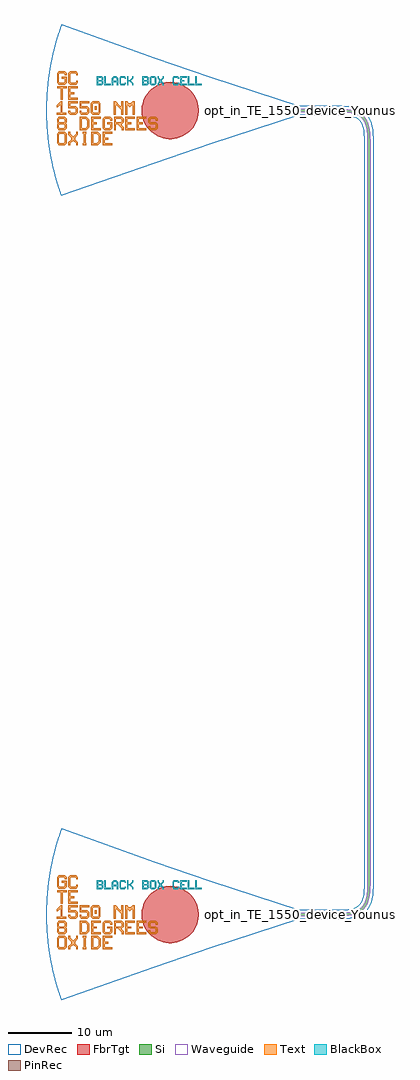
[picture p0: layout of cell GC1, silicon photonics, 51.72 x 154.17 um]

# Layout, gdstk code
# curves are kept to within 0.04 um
import gdstk
lib = gdstk.Library(unit=1e-6, precision=1e-09)
def R(c, l, rs):  # rectangles x0, y0, x1, y1
    for r in rs: c.add(gdstk.rectangle(r[:2], r[2:], *l))
def P(c, l, *ps):  # polygons
    for p in ps: c.add(gdstk.Polygon(p, *l))
Si = (1, 0)
PinRec = (1, 10)
Waveguide = (1, 99)
Text = (10, 0)
DevRec = (68, 0)
FbrTgt = (81, 0)
BlackBox = (998, 0)

text = lib.new_cell('TEXT')
P(text, BlackBox, [(0,0),(0,1.4),(0.8,1.4),(1,1.2),(0.2,1.2),(0.2,0.8),(0.7,0.8),(0.8,0.9),(0.8,1.1),(0.7,1.2),(1,1.2),(1,0.8),(0.9,0.7),(1,0.6),(0.2,0.6),(0.2,0.2),(0.7,0.2),(0.8,0.3),(0.8,0.5),(0.7,0.6),(1,0.6),(1,0.2),(0.8,0)],
  [(1.2,0),(1.2,1.4),(1.4,1.4),(1.4,0.2),(2.2,0.2),(2.2,0)],
  [(2.4,0),(2.4,1.1),(2.7,1.4),(3.1,1.4),(3.3,1.2),(2.8,1.2),(2.6,1),(2.6,0.7),(3.2,0.7),(3.2,1),(3,1.2),(3.3,1.2),(3.4,1.1),(3.4,0),(3.2,0),(3.2,0.5),(2.6,0.5),(2.6,0)],
  [(3.8,0),(3.6,0.2),(3.6,1.2),(3.8,1.4),(4.4,1.4),(4.6,1.2),(4.6,1),(4.4,1),(4.4,1.1),(4.3,1.2),(3.9,1.2),(3.8,1.1),(3.8,0.3),(3.9,0.2),(4.3,0.2),(4.4,0.3),(4.4,0.4),(4.6,0.4),(4.6,0.2),(4.4,0)],
  [(4.8,0),(4.8,1.4),(5,1.4),(5,0.8),(5.2,0.8),(5.6,1.2),(5.6,1.4),(5.8,1.4),(5.8,1.1),(5.4,0.7),(5.8,0.3),(5.8,0),(5.6,0),(5.6,0.2),(5.2,0.6),(5,0.6),(5,0)],
  [(7.2,0),(7.2,1.4),(8,1.4),(8.2,1.2),(7.4,1.2),(7.4,0.8),(7.9,0.8),(8,0.9),(8,1.1),(7.9,1.2),(8.2,1.2),(8.2,0.8),(8.1,0.7),(8.2,0.6),(7.4,0.6),(7.4,0.2),(7.9,0.2),(8,0.3),(8,0.5),(7.9,0.6),(8.2,0.6),(8.2,0.2),(8,0)],
  [(8.6,0),(8.4,0.2),(8.4,1.2),(8.6,1.4),(9.2,1.4),(9.4,1.2),(9.4,0.7),(9.2,0.7),(9.2,1.1),(9.1,1.2),(8.7,1.2),(8.6,1.1),(8.6,0.3),(8.7,0.2),(9.1,0.2),(9.2,0.3),(9.2,0.7),(9.4,0.7),(9.4,0.2),(9.2,0)],
  [(9.6,0),(9.6,0.3),(9.9,0.6),(9.9,0.8),(9.6,1.1),(9.6,1.4),(9.8,1.4),(9.8,1.2),(10.1,0.9),(10.4,1.2),(10.4,1.4),(10.6,1.4),(10.6,1.1),(10.3,0.8),(10.3,0.6),(10.6,0.3),(10.6,0),(10.4,0),(10.4,0.2),(10.1,0.5),(9.8,0.2),(9.8,0)],
  [(12.2,0),(12,0.2),(12,1.2),(12.2,1.4),(12.8,1.4),(13,1.2),(13,1),(12.8,1),(12.8,1.1),(12.7,1.2),(12.3,1.2),(12.2,1.1),(12.2,0.3),(12.3,0.2),(12.7,0.2),(12.8,0.3),(12.8,0.4),(13,0.4),(13,0.2),(12.8,0)],
  [(13.2,0),(13.2,1.4),(14.2,1.4),(14.2,1.2),(13.4,1.2),(13.4,0.8),(13.8,0.8),(13.8,0.6),(13.4,0.6),(13.4,0.2),(14.2,0.2),(14.2,0)],
  [(14.4,0),(14.4,1.4),(14.6,1.4),(14.6,0.2),(15.4,0.2),(15.4,0)],
  [(15.6,0),(15.6,1.4),(15.8,1.4),(15.8,0.2),(16.6,0.2),(16.6,0)])

gc_te_1550_8degoxide_bb = lib.new_cell('GC_TE_1550_8degOxide_BB')
R(gc_te_1550_8degoxide_bb, Si, [(-0.4,-0.25,0,0.25)])
R(gc_te_1550_8degoxide_bb, Text, [(-32.313,0.092,-32.013,0.692)])
P(gc_te_1550_8degoxide_bb, Text, [(-37.67,1.71),(-37.67,3.51),(-38.27,3.51),(-38.27,3.81),(-36.77,3.81),(-36.77,3.51),(-37.37,3.51),(-37.37,1.71)],
  [(-37.97,-5.49),(-38.27,-5.19),(-38.27,-3.69),(-37.97,-3.39),(-37.07,-3.39),(-36.77,-3.69),(-36.77,-4.44),(-37.07,-4.44),(-37.07,-3.84),(-37.22,-3.69),(-37.82,-3.69),(-37.97,-3.84),(-37.97,-5.04),(-37.82,-5.19),(-37.22,-5.19),(-37.07,-5.04),(-37.07,-4.44),(-36.77,-4.44),(-36.77,-5.19),(-37.07,-5.49)],
  [(-31.07,-5.49),(-31.07,-3.39),(-29.57,-3.39),(-29.57,-3.69),(-30.77,-3.69),(-30.77,-4.29),(-30.17,-4.29),(-30.17,-4.59),(-30.77,-4.59),(-30.77,-5.19),(-29.57,-5.19),(-29.57,-5.49)],
  [(-32.87,-3.09),(-32.87,-0.99),(-31.37,-0.99),(-31.37,-1.29),(-32.57,-1.29),(-32.57,-1.89),(-31.97,-1.89),(-31.97,-2.19),(-32.57,-2.19),(-32.57,-2.79),(-31.37,-2.79),(-31.37,-3.09)],
  [(-27.47,-3.09),(-27.47,-0.99),(-25.97,-0.99),(-25.97,-1.29),(-27.17,-1.29),(-27.17,-1.89),(-26.57,-1.89),(-26.57,-2.19),(-27.17,-2.19),(-27.17,-2.79),(-25.97,-2.79),(-25.97,-3.09)],
  [(-25.67,-3.09),(-25.67,-0.99),(-24.17,-0.99),(-24.17,-1.29),(-25.37,-1.29),(-25.37,-1.89),(-24.77,-1.89),(-24.77,-2.19),(-25.37,-2.19),(-25.37,-2.79),(-24.17,-2.79),(-24.17,-3.09)],
  [(-36.47,1.71),(-36.47,3.81),(-34.97,3.81),(-34.97,3.51),(-36.17,3.51),(-36.17,2.91),(-35.57,2.91),(-35.57,2.61),(-36.17,2.61),(-36.17,2.01),(-34.97,2.01),(-34.97,1.71)],
  [(-29.313,-0.658),(-29.313,1.442),(-29.013,1.442),(-28.263,0.692),(-28.113,0.692),(-28.113,1.442),(-27.813,1.442),(-27.813,-0.658),(-28.113,-0.658),(-28.113,0.092),(-28.863,0.842),(-29.013,0.842),(-29.013,-0.658)],
  [(-34.22,-5.49),(-34.22,-5.19),(-34.07,-5.19),(-34.07,-3.69),(-34.22,-3.69),(-34.22,-3.39),(-33.62,-3.39),(-33.62,-3.69),(-33.77,-3.69),(-33.77,-5.19),(-33.62,-5.19),(-33.62,-5.49)],
  [(-36.17,4.11),(-36.47,4.41),(-36.47,5.91),(-36.17,6.21),(-35.27,6.21),(-34.97,5.91),(-34.97,5.61),(-35.27,5.61),(-35.27,5.76),(-35.42,5.91),(-36.02,5.91),(-36.17,5.76),(-36.17,4.56),(-36.02,4.41),(-35.42,4.41),(-35.27,4.56),(-35.27,4.71),(-34.97,4.71),(-34.97,4.41),(-35.27,4.11)],
  [(-27.513,-0.658),(-27.513,1.442),(-27.213,1.442),(-26.913,1.142),(-26.613,1.142),(-26.313,1.442),(-26.013,1.442),(-26.013,-0.658),(-26.313,-0.658),(-26.313,0.842),(-26.463,0.842),(-26.763,0.542),(-27.063,0.842),(-27.213,0.842),(-27.213,-0.658)],
  [(-32.613,-0.658),(-32.913,-0.358),(-32.913,1.142),(-32.613,1.442),(-31.713,1.442),(-31.413,1.142),(-32.463,1.142),(-32.613,0.992),(-32.613,-0.208),(-32.463,-0.358),(-31.863,-0.358),(-31.713,-0.208),(-31.713,0.992),(-31.863,1.142),(-31.413,1.142),(-31.413,-0.358),(-31.713,-0.658)],
  [(-32.87,-5.49),(-32.87,-3.39),(-31.82,-3.39),(-31.52,-3.69),(-32.57,-3.69),(-32.57,-5.19),(-31.97,-5.19),(-31.67,-4.89),(-31.67,-3.99),(-31.97,-3.69),(-31.52,-3.69),(-31.37,-3.84),(-31.37,-5.04),(-31.82,-5.49)],
  [(-34.67,-3.09),(-34.67,-0.99),(-33.62,-0.99),(-33.32,-1.29),(-34.37,-1.29),(-34.37,-2.79),(-33.77,-2.79),(-33.47,-2.49),(-33.47,-1.59),(-33.77,-1.29),(-33.32,-1.29),(-33.17,-1.44),(-33.17,-2.64),(-33.62,-3.09)],
  [(-23.57,-3.09),(-23.87,-2.79),(-23.87,-2.49),(-23.57,-2.49),(-23.57,-2.64),(-23.42,-2.79),(-22.82,-2.79),(-22.67,-2.64),(-22.67,-2.34),(-22.82,-2.19),(-23.57,-2.19),(-23.87,-1.89),(-23.87,-1.29),(-23.57,-0.99),(-22.67,-0.99),(-22.37,-1.29),(-22.37,-1.59),(-22.67,-1.59),(-22.67,-1.44),(-22.82,-1.29),(-23.42,-1.29),(-23.57,-1.44),(-23.57,-1.74),(-23.42,-1.89),(-22.67,-1.89),(-22.37,-2.19),(-22.37,-2.79),(-22.67,-3.09)],
  [(-36.213,-0.658),(-36.513,-0.358),(-36.513,-0.058),(-36.213,-0.058),(-36.213,-0.208),(-36.063,-0.358),(-35.463,-0.358),(-35.313,-0.208),(-35.313,0.242),(-35.463,0.392),(-36.513,0.392),(-36.513,1.442),(-35.013,1.442),(-35.013,1.142),(-36.213,1.142),(-36.213,0.692),(-35.313,0.692),(-35.013,0.392),(-35.013,-0.358),(-35.313,-0.658)],
  [(-34.413,-0.658),(-34.713,-0.358),(-34.713,-0.058),(-34.413,-0.058),(-34.413,-0.208),(-34.263,-0.358),(-33.663,-0.358),(-33.513,-0.208),(-33.513,0.242),(-33.663,0.392),(-34.713,0.392),(-34.713,1.442),(-33.213,1.442),(-33.213,1.142),(-34.413,1.142),(-34.413,0.692),(-33.513,0.692),(-33.213,0.392),(-33.213,-0.358),(-33.513,-0.658)],
  [(-37.97,-3.09),(-38.27,-2.79),(-38.27,-2.19),(-38.12,-2.04),(-38.27,-1.89),(-38.27,-1.29),(-37.97,-0.99),(-37.07,-0.99),(-36.77,-1.29),(-37.82,-1.29),(-37.97,-1.44),(-37.97,-1.74),(-37.82,-1.89),(-37.22,-1.89),(-37.07,-1.74),(-37.07,-1.44),(-37.22,-1.29),(-36.77,-1.29),(-36.77,-1.89),(-36.92,-2.04),(-36.77,-2.19),(-37.82,-2.19),(-37.97,-2.34),(-37.97,-2.64),(-37.82,-2.79),(-37.22,-2.79),(-37.07,-2.64),(-37.07,-2.34),(-37.22,-2.19),(-36.77,-2.19),(-36.77,-2.79),(-37.07,-3.09)],
  [(-38.313,-0.658),(-38.313,-0.358),(-37.713,-0.358),(-37.713,0.842),(-37.863,0.842),(-38.163,0.542),(-38.313,0.542),(-38.313,0.842),(-37.713,1.442),(-37.413,1.442),(-37.413,-0.358),(-36.813,-0.358),(-36.813,-0.658)],
  [(-36.47,-5.49),(-36.47,-5.04),(-36.02,-4.59),(-36.02,-4.29),(-36.47,-3.84),(-36.47,-3.39),(-36.17,-3.39),(-36.17,-3.69),(-35.72,-4.14),(-35.27,-3.69),(-35.27,-3.39),(-34.97,-3.39),(-34.97,-3.84),(-35.42,-4.29),(-35.42,-4.59),(-34.97,-5.04),(-34.97,-5.49),(-35.27,-5.49),(-35.27,-5.19),(-35.72,-4.74),(-36.17,-5.19),(-36.17,-5.49)],
  [(-30.77,-3.09),(-31.07,-2.79),(-31.07,-1.29),(-30.77,-0.99),(-29.87,-0.99),(-29.57,-1.29),(-29.57,-1.59),(-29.87,-1.59),(-29.87,-1.44),(-30.02,-1.29),(-30.62,-1.29),(-30.77,-1.44),(-30.77,-2.64),(-30.62,-2.79),(-30.02,-2.79),(-29.87,-2.64),(-29.87,-2.19),(-30.32,-2.19),(-30.32,-1.89),(-29.57,-1.89),(-29.57,-2.79),(-29.87,-3.09)],
  [(-37.97,4.11),(-38.27,4.41),(-38.27,5.91),(-37.97,6.21),(-37.07,6.21),(-36.77,5.91),(-36.77,5.61),(-37.07,5.61),(-37.07,5.76),(-37.22,5.91),(-37.82,5.91),(-37.97,5.76),(-37.97,4.56),(-37.82,4.41),(-37.22,4.41),(-37.07,4.56),(-37.07,5.01),(-37.52,5.01),(-37.52,5.31),(-36.77,5.31),(-36.77,4.41),(-37.07,4.11)],
  [(-29.27,-3.09),(-29.27,-0.99),(-28.07,-0.99),(-27.77,-1.29),(-28.97,-1.29),(-28.97,-1.89),(-28.22,-1.89),(-28.07,-1.74),(-28.07,-1.44),(-28.22,-1.29),(-27.77,-1.29),(-27.77,-1.89),(-28.07,-2.19),(-28.07,-2.34),(-27.77,-2.64),(-27.77,-3.09),(-28.07,-3.09),(-28.07,-2.79),(-28.67,-2.19),(-28.97,-2.19),(-28.97,-3.09)])
P(gc_te_1550_8degoxide_bb, DevRec, [(-37.607,-13.5),(-38.627,-10.245),(-39.378,-6.832),(-39.647,-5.058),(-39.835,-3.274),(-39.969,0.224),(-39.812,3.541),(-39.331,7.097),(-38.557,10.505),(-37.546,13.669),(-22.8,8.353),(-14.109,5.36),(0,0.75),(0,-0.75),(-14.109,-5.36)])
P(gc_te_1550_8degoxide_bb, FbrTgt, [(-20.621,-4.5),(-21.495,-4.37),(-22.326,-4.073),(-23.084,-3.619),(-23.738,-3.026),(-24.264,-2.316),(-24.642,-1.518),(-24.857,-0.661),(-24.9,0.221),(-24.77,1.095),(-24.473,1.926),(-24.019,2.684),(-23.426,3.338),(-22.716,3.864),(-21.918,4.242),(-21.061,4.457),(-20.179,4.5),(-19.305,4.37),(-18.474,4.073),(-17.716,3.619),(-17.062,3.026),(-16.536,2.316),(-16.158,1.518),(-15.943,0.661),(-15.9,-0.221),(-16.03,-1.095),(-16.327,-1.926),(-16.781,-2.684),(-17.374,-3.338),(-18.084,-3.864),(-18.882,-4.242),(-19.739,-4.457)])
gc_te_1550_8degoxide_bb.add(gdstk.FlexPath([(-0.01,0),(0.01,0)], 0.5, ends="flush", simple_path=True, layer=1, datatype=10))  # PinRec
gc_te_1550_8degoxide_bb.add(gdstk.Reference(text, (-32,4)))
gc_te_1550_8degoxide_bb.add(gdstk.Label('opt1', (0,0), layer=1, texttype=10))
gc_te_1550_8degoxide_bb.add(gdstk.Label('Lumerical_INTERCONNECT_library=Design kits/ebeam', (-29,-7), layer=68, texttype=0))
gc_te_1550_8degoxide_bb.add(gdstk.Label('Component=GC_TE_1550_8degOxide_BB', (-28,-5), layer=68, texttype=0))

waveguide_69 = lib.new_cell('Waveguide$69')
P(waveguide_69, Si, [(219.16,-47.51),(219.16,-47.01),(225.99,-46.992),(227.205,-46.872),(228.142,-46.62),(228.828,-46.225),(229.126,-45.927),(229.37,-45.563),(229.715,-44.601),(229.883,-43.281),(229.91,74.74),(229.856,76.126),(229.645,77.353),(229.253,78.234),(228.983,78.563),(228.653,78.834),(227.901,79.187),(227.049,79.378),(225.791,79.481),(219.16,79.49),(219.16,79.99),(226.209,79.963),(227.29,79.845),(228.192,79.616),(228.931,79.25),(229.426,78.823),(229.807,78.284),(230.125,77.491),(230.315,76.531),(230.4,75.388),(230.383,-43.309),(230.203,-44.709),(230.036,-45.292),(229.808,-45.803),(229.512,-46.243),(229.144,-46.611),(228.704,-46.907),(228.193,-47.135),(227.291,-47.364),(226.012,-47.492)])
P(waveguide_69, Waveguide, [(219.16,-47.51),(219.16,-47.01),(225.99,-46.992),(227.205,-46.872),(228.142,-46.62),(228.828,-46.225),(229.126,-45.927),(229.37,-45.563),(229.715,-44.601),(229.883,-43.281),(229.91,74.74),(229.856,76.126),(229.645,77.353),(229.253,78.234),(228.983,78.563),(228.653,78.834),(227.901,79.187),(227.049,79.378),(225.791,79.481),(219.16,79.49),(219.16,79.99),(226.209,79.963),(227.29,79.845),(228.192,79.616),(228.931,79.25),(229.426,78.823),(229.807,78.284),(230.125,77.491),(230.315,76.531),(230.4,75.388),(230.383,-43.309),(230.203,-44.709),(230.036,-45.292),(229.808,-45.803),(229.512,-46.243),(229.144,-46.611),(228.704,-46.907),(228.193,-47.135),(227.291,-47.364),(226.012,-47.492)])
P(waveguide_69, DevRec, [(219.16,-48.01),(219.16,-46.51),(225.81,-46.499),(226.905,-46.412),(228.056,-46.114),(228.536,-45.817),(228.718,-45.635),(229.015,-45.155),(229.313,-44.004),(229.4,-42.909),(229.41,74.74),(229.367,75.971),(229.234,76.934),(228.874,77.899),(228.717,78.116),(228.318,78.455),(227.735,78.715),(226.904,78.893),(225.809,78.98),(219.16,78.99),(219.16,80.49),(225.861,80.48),(227.112,80.379),(228.187,80.145),(229.11,79.729),(229.509,79.438),(230.148,78.691),(230.564,77.768),(230.798,76.693),(230.899,75.442),(230.9,-42.961),(230.701,-44.769),(230.383,-45.769),(229.858,-46.609),(229.51,-46.957),(228.67,-47.482),(227.67,-47.8),(226.511,-47.963)])
waveguide_69.add(gdstk.FlexPath([(219.17,79.74),(219.15,79.74)], 0.5, ends="flush", simple_path=True, layer=1, datatype=10))  # PinRec
waveguide_69.add(gdstk.FlexPath([(219.17,-47.26),(219.15,-47.26)], 0.5, ends="flush", simple_path=True, layer=1, datatype=10))  # PinRec
waveguide_69.add(gdstk.Label('opt1', (219.16,79.74), layer=1, texttype=10))
waveguide_69.add(gdstk.Label('opt2', (219.16,-47.26), layer=1, texttype=10))
waveguide_69.add(gdstk.Label('Lumerical_INTERCONNECT_library=Design kits/EBeam', (219.16,79.64), layer=68, texttype=0))
waveguide_69.add(gdstk.Label('Component=ebeam_wg_integral_1550', (219.16,79.84), layer=68, texttype=0))
waveguide_69.add(gdstk.Label('cellName=Waveguide', (219.16,79.94), layer=68, texttype=0))
waveguide_69.add(gdstk.Label('Spice_param:wg_length=0.000145897 wg_width=5e-07 points="[[219.16,79.74],[230.16,79.74],[230.16,-47.26],[219.16,-47.26]]" radius=5e-06', (219.16,79.74), layer=68, texttype=0))
waveguide_69.add(gdstk.Label('Length=145.897 (microns)', (219.16,79.14), layer=68, texttype=0))
waveguide_69.add(gdstk.Label('waveguide_type=Strip TE 1550 nm, w=500 nm', (219.16,79.54), layer=68, texttype=0))

lumerical_interconnect_l = lib.new_cell('Lumerical_INTERCONNECT_Laser')

lumerical_interconnect_d = lib.new_cell('Lumerical_INTERCONNECT_Detector')

gc1 = lib.new_cell('GC1')
r = gdstk.Reference(gc_te_1550_8degoxide_bb, (219.16,-47.26)); r.repetition = gdstk.Repetition(1, 2, v1=(0,0), v2=(0,127)); gc1.add(r)
gc1.add(gdstk.Reference(waveguide_69, (0,0)))
r = gdstk.Reference(lumerical_interconnect_l, (207.96,80.06)); r.repetition = gdstk.Repetition(1, 1, v1=(0,0), v2=(0,0)); gc1.add(r)
r = gdstk.Reference(lumerical_interconnect_d, (209.85,-48.27)); r.repetition = gdstk.Repetition(1, 1, v1=(0,0), v2=(0,0)); gc1.add(r)
gc1.add(gdstk.Label('opt_in_TE_1550_device_Younus_GC1', (219.16,79.74), layer=10, texttype=0))
gc1.add(gdstk.Label('opt_in_TE_1550_device_Younus_GC2', (219.16,-47.26), layer=10, texttype=0))

lib.write_gds('GC1.gds')
